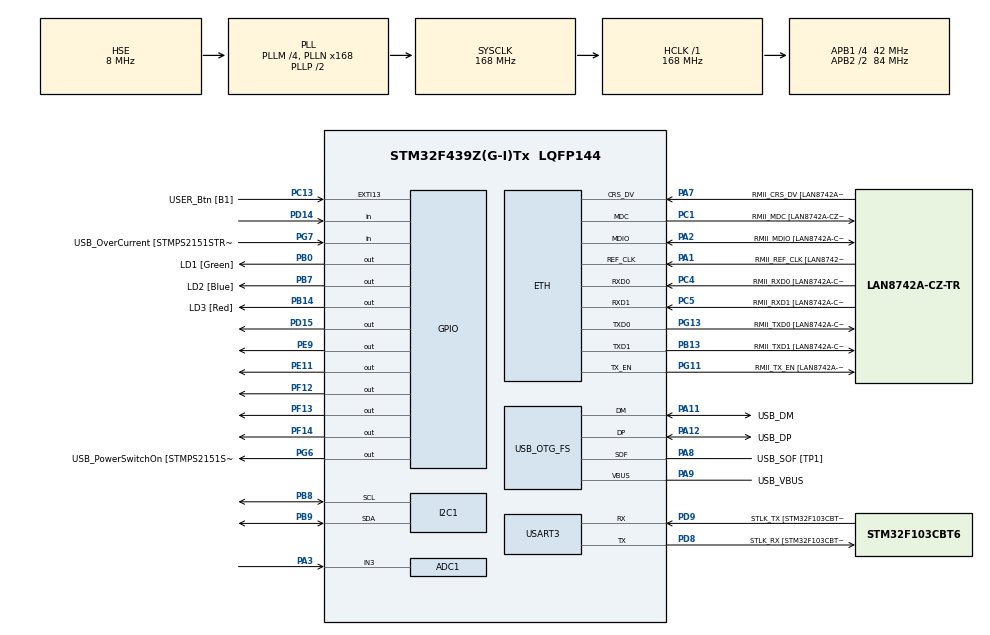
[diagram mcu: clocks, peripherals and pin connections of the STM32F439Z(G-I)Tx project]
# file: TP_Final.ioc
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ADC1.Channel-0\#ChannelRegularConversion=ADC_CHANNEL_3
ADC1.NbrOfConversionFlag=1
ADC1.Rank-0\#ChannelRegularConversion=1
ADC1.Resolution=ADC_RESOLUTION_10B
ADC1.SamplingTime-0\#ChannelRegularConversion=ADC_SAMPLETIME_3CYCLES
ADC1.master=1
ETH.MediaInterface=HAL_ETH_RMII_MODE
ETH.PHY_Name=LAN8742A_PHY_ADDRESS
ETH.PHY_Value=0
ETH.PhyAddress=0
Mcu.Family=STM32F4
Mcu.Name=STM32F439Z(G-I)Tx
Mcu.Package=LQFP144
NVIC.PriorityGroup=NVIC_PRIORITYGROUP_4
PA1.GPIO_Label=RMII_REF_CLK [LAN8742A-CZ-TR_REFCLK0]
PA1.Mode=RMII
PA1.Signal=ETH_REF_CLK
PA10.GPIO_Label=USB_ID
PA10.Signal=USB_OTG_FS_ID
PA11.GPIO_Label=USB_DM
PA11.Mode=Device_Only
PA11.Signal=USB_OTG_FS_DM
PA12.GPIO_Label=USB_DP
PA12.Mode=Device_Only
PA12.Signal=USB_OTG_FS_DP
PA13.GPIO_Label=TMS
PA13.Mode=Serial_Wire
PA13.Signal=SYS_JTMS-SWDIO
PA14.GPIO_Label=TCK
PA14.Mode=Serial_Wire
PA14.Signal=SYS_JTCK-SWCLK
PA2.GPIO_Label=RMII_MDIO [LAN8742A-CZ-TR_MDIO]
PA2.Mode=RMII
PA2.Signal=ETH_MDIO
PA3.Signal=ADCx_IN3
PA7.GPIO_Label=RMII_CRS_DV [LAN8742A-CZ-TR_CRS_DV]
PA7.Mode=RMII
PA7.Signal=ETH_CRS_DV
PA8.GPIO_Label=USB_SOF [TP1]
PA8.Mode=Activate_SOF_FS
PA8.Signal=USB_OTG_FS_SOF
PA9.GPIO_Label=USB_VBUS
PA9.Mode=Activate_VBUS
PA9.Signal=USB_OTG_FS_VBUS
PB0.GPIO_Label=LD1 [Green]
PB0.Signal=GPIO_Output
PB10.Signal=I2C2_SCL
PB11.Signal=I2C2_SDA
PB13.GPIO_Label=RMII_TXD1 [LAN8742A-CZ-TR_TXD1]
PB13.Mode=RMII
PB13.Signal=ETH_TXD1
PB14.GPIO_Label=LD3 [Red]
PB14.Signal=GPIO_Output
PB7.GPIO_Label=LD2 [Blue]
PB7.Signal=GPIO_Output
PB8.Mode=I2C
PB8.Signal=I2C1_SCL
PB9.Mode=I2C
PB9.Signal=I2C1_SDA
PC1.GPIO_Label=RMII_MDC [LAN8742A-CZ-TR_MDC]
PC1.Mode=RMII
PC1.Signal=ETH_MDC
PC13.GPIO_Label=USER_Btn [B1]
PC13.Signal=GPXTI13
PC14/OSC32_IN.Mode=LSE-External-Oscillator
PC14/OSC32_IN.Signal=RCC_OSC32_IN
PC15/OSC32_OUT.Mode=LSE-External-Oscillator
PC15/OSC32_OUT.Signal=RCC_OSC32_OUT
PC4.GPIO_Label=RMII_RXD0 [LAN8742A-CZ-TR_RXD0]
PC4.Mode=RMII
PC4.Signal=ETH_RXD0
PC5.GPIO_Label=RMII_RXD1 [LAN8742A-CZ-TR_RXD1]
PC5.Mode=RMII
PC5.Signal=ETH_RXD1
PD14.Signal=GPIO_Input
PD15.Signal=GPIO_Output
PD8.GPIO_Label=STLK_RX [STM32F103CBT6_PA3]
PD8.Mode=Asynchronous
PD8.Signal=USART3_TX
PD9.GPIO_Label=STLK_TX [STM32F103CBT6_PA2]
PD9.Mode=Asynchronous
PD9.Signal=USART3_RX
PE11.Signal=GPIO_Output
PE9.Signal=GPIO_Output
PF12.Signal=GPIO_Output
PF13.Signal=GPIO_Output
PF14.Signal=GPIO_Output
PG11.GPIO_Label=RMII_TX_EN [LAN8742A-CZ-TR_TXEN]
PG11.Mode=RMII
PG11.Signal=ETH_TX_EN
PG13.GPIO_Label=RMII_TXD0 [LAN8742A-CZ-TR_TXD0]
PG13.Mode=RMII
PG13.Signal=ETH_TXD0
PG6.GPIO_Label=USB_PowerSwitchOn [STMPS2151STR_EN]
PG6.Signal=GPIO_Output
PG7.GPIO_Label=USB_OverCurrent [STMPS2151STR_FAULT]
PG7.Signal=GPIO_Input
PH0/OSC_IN.GPIO_Label=MCO [STM32F103CBT6_PA8]
PH0/OSC_IN.Mode=HSE-External-Clock-Source
PH0/OSC_IN.Signal=RCC_OSC_IN
PH1/OSC_OUT.Mode=HSE-External-Clock-Source
PH1/OSC_OUT.Signal=RCC_OSC_OUT
ProjectManager.HeapSize=0x200
ProjectManager.StackSize=0x400
ProjectManager.TargetToolchain=STM32CubeIDE
RCC.48MHZClocksFreq_Value=48000000
RCC.AHBFreq_Value=168000000
RCC.APB1CLKDivider=RCC_HCLK_DIV4
RCC.APB1Freq_Value=42000000
RCC.APB1TimFreq_Value=84000000
RCC.APB2CLKDivider=RCC_HCLK_DIV2
RCC.APB2Freq_Value=84000000
RCC.APB2TimCLKDivider=2
RCC.APB2TimFreq_Value=168000000
RCC.CortexFreq_Value=168000000
RCC.HCLKFreq_Value=168000000
RCC.HSE_VALUE=8000000
RCC.HSI_VALUE=16000000
RCC.PLLM=4
RCC.PLLMUL=RCC_PLL_MUL9
RCC.PLLN=168
RCC.PLLQ=7
RCC.PRESCALERUSB=RCC_USBCLKSOURCE_PLL_DIV1_5
RCC.SYSCLKFreq_VALUE=168000000
RCC.SYSCLKSource=RCC_SYSCLKSOURCE_PLLCLK
RCC.SYSCLKSourceVirtual=RCC_SYSCLKSOURCE_PLLCLK
RCC.USBFreq_Value=48000000
RCC.VCOOutputFreq_Value=336000000
SH.ADCx_IN3.0=ADC1_IN3,IN3
USART3.VirtualMode=VM_ASYNC
USB_OTG_FS.VirtualMode=Device_Only
board=NUCLEO-F439ZI

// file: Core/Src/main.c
/* USER CODE BEGIN Header */
/**
  ******************************************************************************
  * @file           : main.c
  * @brief          : Main program body
  ******************************************************************************
  * @attention
  *
  * Copyright (c) 2023 STMicroelectronics.
  * All rights reserved.
  *
  * This software is licensed under terms that can be found in the LICENSE file
  * in the root directory of this software component.
  * If no LICENSE file comes with this software, it is provided AS-IS.
  *
  ******************************************************************************
  */
/* USER CODE END Header */
#include "main.h"
#include "string.h"

/* USER CODE BEGIN Includes */
#include <stdio.h>
#include "common.h"
#include "API_uart.h"
#include "API_lcd_keypad.h"
#include "API_adc.h"
#include "API_rtc.h"
//#include "API_lcd_keypad_i2c.h"

/* USER CODE END Includes */

ETH_TxPacketConfig TxConfig;
ETH_DMADescTypeDef  DMARxDscrTab[ETH_RX_DESC_CNT]; /* Ethernet Rx DMA Descriptors */
ETH_DMADescTypeDef  DMATxDscrTab[ETH_TX_DESC_CNT]; /* Ethernet Tx DMA Descriptors */

ADC_HandleTypeDef hadc1;

ETH_HandleTypeDef heth;

I2C_HandleTypeDef hi2c1;

UART_HandleTypeDef huart3;

PCD_HandleTypeDef hpcd_USB_OTG_FS;

void SystemClock_Config(void);
static void MX_GPIO_Init(void);
static void MX_ETH_Init(void);
static void MX_USART3_UART_Init(void);
static void MX_USB_OTG_FS_PCD_Init(void);
static void MX_ADC1_Init(void);
static void MX_I2C1_Init(void);

int main(void)
{
  /* USER CODE BEGIN 1 */
	bool_t uart_initiailzed = false;
	/*
	  uint32_t x = 0;
	  uint8_t result = 0;
	  uint8_t * string = (uint8_t *)"";
	  char msg[10];
	  uint8_t d_port[4] = {PORT_D4, PORT_D5, PORT_D6, PORT_D7};
	  uint8_t d_pins[4] = {PIN_D4, PIN_D5, PIN_D6, PIN_D7};
	  uint8_t dato = ((INIT_CMD>>4)&0x0f);
	  */
	dateTime_t fechaHora = {
			.anio = 0,
			.mes = 0,
			.dia = 0,
			.hora = 0,
			.min = 0,
			.seg = 0,
	};
	temp_t temp=0;
	char msgFh[100];
	char msgTmp[10];

  /* USER CODE END 1 */

  /* MCU Configuration--------------------------------------------------------*/

  /* Reset of all peripherals, Initializes the Flash interface and the Systick. */
  HAL_Init();

  /* Configure the system clock */
  SystemClock_Config();

  /* USER CODE BEGIN SysInit */
  uart_initiailzed = uartInit();
  lcd_init();

  /* USER CODE END SysInit */

  /* Initialize all configured peripherals */
  MX_GPIO_Init();
  MX_ETH_Init();
  MX_USART3_UART_Init();
  MX_USB_OTG_FS_PCD_Init();
  MX_ADC1_Init();
  MX_I2C1_Init();

  /* Infinite loop */
  /* USER CODE BEGIN WHILE */
  //ajustar_fecha_hora(23, 12, 8, 6, 11, 59, 30);
  lcd_send_string("Hola");

//	lcd_put_cur(0, 0);
//	lcd_send_string("aaa");
//	lcd_put_cur(1, 0);
//	lcd_send_string("222");

//	lcd_put_cur_i2c(0, 5);
//	lcd_send_string_i2c("111");
//	lcd_put_cur_i2c(1, 0);
//	lcd_send_string_i2c("222");

  while (1)
  {
    /* USER CODE END WHILE */

    /* USER CODE BEGIN 3 */
	  // x=leer_adc(hadc1);
	  // sprintf(msg, "Valor: %lu\r\n", x);
	  // uartSendString((uint8_t *)msg);

	  // result = boton_presionado(x);
	  // string = str_boton(result);
	  // uartSendString(string);
	//	lcd_enviar_comando(INIT_CMD);

//	  fechaHora = leer_fecha_hora();
//	  temp = leer_temp();
//	  sprintf(msgFh, "%u-%u-%u %u:%u:%u\r\n", fechaHora.anio, fechaHora.mes, fechaHora.dia, fechaHora.hora, fechaHora.min, fechaHora.seg);
//	  sprintf(msgTmp, "%.2f C\r\n", temp);

//	  uartSendString(msgFh);
//
//	  uartSendString(msgTmp);
	  // delay_us(100);

	BSP_LED_Toggle(LED2);

	  //HAL_I2C_Master_Transmit(&hi2c1, LCD_ADDR, (uint8_t*)"5", 1, HAL_MAX_DELAY);

	HAL_Delay(100);

  }
  /* USER CODE END 3 */
}

void SystemClock_Config(void)
{
  RCC_OscInitTypeDef RCC_OscInitStruct = {0};
  RCC_ClkInitTypeDef RCC_ClkInitStruct = {0};

  /** Configure the main internal regulator output voltage
  */
  __HAL_RCC_PWR_CLK_ENABLE();
  __HAL_PWR_VOLTAGESCALING_CONFIG(PWR_REGULATOR_VOLTAGE_SCALE1);

  /** Initializes the RCC Oscillators according to the specified parameters
  * in the RCC_OscInitTypeDef structure.
  */
  RCC_OscInitStruct.OscillatorType = RCC_OSCILLATORTYPE_HSE;
  RCC_OscInitStruct.HSEState = RCC_HSE_BYPASS;
  RCC_OscInitStruct.PLL.PLLState = RCC_PLL_ON;
  RCC_OscInitStruct.PLL.PLLSource = RCC_PLLSOURCE_HSE;
  RCC_OscInitStruct.PLL.PLLM = 4;
  RCC_OscInitStruct.PLL.PLLN = 168;
  RCC_OscInitStruct.PLL.PLLP = RCC_PLLP_DIV2;
  RCC_OscInitStruct.PLL.PLLQ = 7;
  if (HAL_RCC_OscConfig(&RCC_OscInitStruct) != HAL_OK)
  {
    Error_Handler();
  }

  /** Initializes the CPU, AHB and APB buses clocks
  */
  RCC_ClkInitStruct.ClockType = RCC_CLOCKTYPE_HCLK|RCC_CLOCKTYPE_SYSCLK
                              |RCC_CLOCKTYPE_PCLK1|RCC_CLOCKTYPE_PCLK2;
  RCC_ClkInitStruct.SYSCLKSource = RCC_SYSCLKSOURCE_PLLCLK;
  RCC_ClkInitStruct.AHBCLKDivider = RCC_SYSCLK_DIV1;
  RCC_ClkInitStruct.APB1CLKDivider = RCC_HCLK_DIV4;
  RCC_ClkInitStruct.APB2CLKDivider = RCC_HCLK_DIV2;

  if (HAL_RCC_ClockConfig(&RCC_ClkInitStruct, FLASH_LATENCY_5) != HAL_OK)
  {
    Error_Handler();
  }
}

static void MX_ADC1_Init(void)
{

  ADC_ChannelConfTypeDef sConfig = {0};

  /** Configure the global features of the ADC (Clock, Resolution, Data Alignment and number of conversion)
  */
  hadc1.Instance = ADC1;
  hadc1.Init.ClockPrescaler = ADC_CLOCK_SYNC_PCLK_DIV4;
  hadc1.Init.Resolution = ADC_RESOLUTION_10B;
  hadc1.Init.ScanConvMode = DISABLE;
  hadc1.Init.ContinuousConvMode = DISABLE;
  hadc1.Init.DiscontinuousConvMode = DISABLE;
  hadc1.Init.ExternalTrigConvEdge = ADC_EXTERNALTRIGCONVEDGE_NONE;
  hadc1.Init.ExternalTrigConv = ADC_SOFTWARE_START;
  hadc1.Init.DataAlign = ADC_DATAALIGN_RIGHT;
  hadc1.Init.NbrOfConversion = 1;
  hadc1.Init.DMAContinuousRequests = DISABLE;
  hadc1.Init.EOCSelection = ADC_EOC_SINGLE_CONV;
  if (HAL_ADC_Init(&hadc1) != HAL_OK)
  {
    Error_Handler();
  }

  /** Configure for the selected ADC regular channel its corresponding rank in the sequencer and its sample time.
  */
  sConfig.Channel = ADC_CHANNEL_3;
  sConfig.Rank = 1;
  sConfig.SamplingTime = ADC_SAMPLETIME_3CYCLES;
  if (HAL_ADC_ConfigChannel(&hadc1, &sConfig) != HAL_OK)
  {
    Error_Handler();
  }

}

static void MX_ETH_Init(void)
{

   static uint8_t MACAddr[6];

  heth.Instance = ETH;
  MACAddr[0] = 0x00;
  MACAddr[1] = 0x80;
  MACAddr[2] = 0xE1;
  MACAddr[3] = 0x00;
  MACAddr[4] = 0x00;
  MACAddr[5] = 0x00;
  heth.Init.MACAddr = &MACAddr[0];
  heth.Init.MediaInterface = HAL_ETH_RMII_MODE;
  heth.Init.TxDesc = DMATxDscrTab;
  heth.Init.RxDesc = DMARxDscrTab;
  heth.Init.RxBuffLen = 1524;

  if (HAL_ETH_Init(&heth) != HAL_OK)
  {
    Error_Handler();
  }

  memset(&TxConfig, 0 , sizeof(ETH_TxPacketConfig));
  TxConfig.Attributes = ETH_TX_PACKETS_FEATURES_CSUM | ETH_TX_PACKETS_FEATURES_CRCPAD;
  TxConfig.ChecksumCtrl = ETH_CHECKSUM_IPHDR_PAYLOAD_INSERT_PHDR_CALC;
  TxConfig.CRCPadCtrl = ETH_CRC_PAD_INSERT;

}

static void MX_I2C1_Init(void)
{

  hi2c1.Instance = I2C1;
  hi2c1.Init.ClockSpeed = 100000;
  hi2c1.Init.DutyCycle = I2C_DUTYCYCLE_2;
  hi2c1.Init.OwnAddress1 = 0;
  hi2c1.Init.AddressingMode = I2C_ADDRESSINGMODE_7BIT;
  hi2c1.Init.DualAddressMode = I2C_DUALADDRESS_DISABLE;
  hi2c1.Init.OwnAddress2 = 0;
  hi2c1.Init.GeneralCallMode = I2C_GENERALCALL_DISABLE;
  hi2c1.Init.NoStretchMode = I2C_NOSTRETCH_DISABLE;
  if (HAL_I2C_Init(&hi2c1) != HAL_OK)
  {
    Error_Handler();
  }

  /** Configure Analogue filter
  */
  if (HAL_I2CEx_ConfigAnalogFilter(&hi2c1, I2C_ANALOGFILTER_ENABLE) != HAL_OK)
  {
    Error_Handler();
  }

  /** Configure Digital filter
  */
  if (HAL_I2CEx_ConfigDigitalFilter(&hi2c1, 0) != HAL_OK)
  {
    Error_Handler();
  }

}

static void MX_USART3_UART_Init(void)
{

  huart3.Instance = USART3;
  huart3.Init.BaudRate = 115200;
  huart3.Init.WordLength = UART_WORDLENGTH_8B;
  huart3.Init.StopBits = UART_STOPBITS_1;
  huart3.Init.Parity = UART_PARITY_NONE;
  huart3.Init.Mode = UART_MODE_TX_RX;
  huart3.Init.HwFlowCtl = UART_HWCONTROL_NONE;
  huart3.Init.OverSampling = UART_OVERSAMPLING_16;
  if (HAL_UART_Init(&huart3) != HAL_OK)
  {
    Error_Handler();
  }

}

static void MX_USB_OTG_FS_PCD_Init(void)
{

  hpcd_USB_OTG_FS.Instance = USB_OTG_FS;
  hpcd_USB_OTG_FS.Init.dev_endpoints = 4;
  hpcd_USB_OTG_FS.Init.speed = PCD_SPEED_FULL;
  hpcd_USB_OTG_FS.Init.dma_enable = DISABLE;
  hpcd_USB_OTG_FS.Init.phy_itface = PCD_PHY_EMBEDDED;
  hpcd_USB_OTG_FS.Init.Sof_enable = ENABLE;
  hpcd_USB_OTG_FS.Init.low_power_enable = DISABLE;
  hpcd_USB_OTG_FS.Init.lpm_enable = DISABLE;
  hpcd_USB_OTG_FS.Init.vbus_sensing_enable = ENABLE;
  hpcd_USB_OTG_FS.Init.use_dedicated_ep1 = DISABLE;
  if (HAL_PCD_Init(&hpcd_USB_OTG_FS) != HAL_OK)
  {
    Error_Handler();
  }

}

static void MX_GPIO_Init(void)
{
  GPIO_InitTypeDef GPIO_InitStruct = {0};

  /* GPIO Ports Clock Enable */
  __HAL_RCC_GPIOC_CLK_ENABLE();
  __HAL_RCC_GPIOH_CLK_ENABLE();
  __HAL_RCC_GPIOA_CLK_ENABLE();
  __HAL_RCC_GPIOB_CLK_ENABLE();
  __HAL_RCC_GPIOF_CLK_ENABLE();
  __HAL_RCC_GPIOE_CLK_ENABLE();
  __HAL_RCC_GPIOD_CLK_ENABLE();
  __HAL_RCC_GPIOG_CLK_ENABLE();

  /*Configure GPIO pin Output Level */
  HAL_GPIO_WritePin(GPIOB, LD1_Pin|LD3_Pin|LD2_Pin, GPIO_PIN_RESET);

  /*Configure GPIO pin Output Level */
  HAL_GPIO_WritePin(GPIOF, GPIO_PIN_12|GPIO_PIN_13|GPIO_PIN_14, GPIO_PIN_RESET);

  /*Configure GPIO pin Output Level */
  HAL_GPIO_WritePin(GPIOE, GPIO_PIN_9|GPIO_PIN_11, GPIO_PIN_RESET);

  /*Configure GPIO pin Output Level */
  HAL_GPIO_WritePin(GPIOD, GPIO_PIN_15, GPIO_PIN_RESET);

  /*Configure GPIO pin Output Level */
  HAL_GPIO_WritePin(USB_PowerSwitchOn_GPIO_Port, USB_PowerSwitchOn_Pin, GPIO_PIN_RESET);

  /*Configure GPIO pin : USER_Btn_Pin */
  GPIO_InitStruct.Pin = USER_Btn_Pin;
  GPIO_InitStruct.Mode = GPIO_MODE_IT_RISING;
  GPIO_InitStruct.Pull = GPIO_NOPULL;
  HAL_GPIO_Init(USER_Btn_GPIO_Port, &GPIO_InitStruct);

  /*Configure GPIO pins : LD1_Pin LD3_Pin LD2_Pin */
  GPIO_InitStruct.Pin = LD1_Pin|LD3_Pin|LD2_Pin;
  GPIO_InitStruct.Mode = GPIO_MODE_OUTPUT_PP;
  GPIO_InitStruct.Pull = GPIO_NOPULL;
  GPIO_InitStruct.Speed = GPIO_SPEED_FREQ_LOW;
  HAL_GPIO_Init(GPIOB, &GPIO_InitStruct);

  /*Configure GPIO pins : PF12 PF13 PF14 */
  GPIO_InitStruct.Pin = GPIO_PIN_12|GPIO_PIN_13|GPIO_PIN_14;
  GPIO_InitStruct.Mode = GPIO_MODE_OUTPUT_PP;
  GPIO_InitStruct.Pull = GPIO_NOPULL;
  GPIO_InitStruct.Speed = GPIO_SPEED_FREQ_LOW;
  HAL_GPIO_Init(GPIOF, &GPIO_InitStruct);

  /*Configure GPIO pins : PE9 PE11 */
  GPIO_InitStruct.Pin = GPIO_PIN_9|GPIO_PIN_11;
  GPIO_InitStruct.Mode = GPIO_MODE_OUTPUT_PP;
  GPIO_InitStruct.Pull = GPIO_NOPULL;
  GPIO_InitStruct.Speed = GPIO_SPEED_FREQ_LOW;
  HAL_GPIO_Init(GPIOE, &GPIO_InitStruct);

  /*Configure GPIO pins : PB10 PB11 */
  GPIO_InitStruct.Pin = GPIO_PIN_10|GPIO_PIN_11;
  GPIO_InitStruct.Mode = GPIO_MODE_AF_OD;
  GPIO_InitStruct.Pull = GPIO_NOPULL;
  GPIO_InitStruct.Speed = GPIO_SPEED_FREQ_VERY_HIGH;
  GPIO_InitStruct.Alternate = GPIO_AF4_I2C2;
  HAL_GPIO_Init(GPIOB, &GPIO_InitStruct);

  /*Configure GPIO pin : PD14 */
  GPIO_InitStruct.Pin = GPIO_PIN_14;
  GPIO_InitStruct.Mode = GPIO_MODE_INPUT;
  GPIO_InitStruct.Pull = GPIO_NOPULL;
  HAL_GPIO_Init(GPIOD, &GPIO_InitStruct);

  /*Configure GPIO pin : PD15 */
  GPIO_InitStruct.Pin = GPIO_PIN_15;
  GPIO_InitStruct.Mode = GPIO_MODE_OUTPUT_PP;
  GPIO_InitStruct.Pull = GPIO_NOPULL;
  GPIO_InitStruct.Speed = GPIO_SPEED_FREQ_LOW;
  HAL_GPIO_Init(GPIOD, &GPIO_InitStruct);

  /*Configure GPIO pin : USB_PowerSwitchOn_Pin */
  GPIO_InitStruct.Pin = USB_PowerSwitchOn_Pin;
  GPIO_InitStruct.Mode = GPIO_MODE_OUTPUT_PP;
  GPIO_InitStruct.Pull = GPIO_NOPULL;
  GPIO_InitStruct.Speed = GPIO_SPEED_FREQ_LOW;
  HAL_GPIO_Init(USB_PowerSwitchOn_GPIO_Port, &GPIO_InitStruct);

  /*Configure GPIO pin : USB_OverCurrent_Pin */
  GPIO_InitStruct.Pin = USB_OverCurrent_Pin;
  GPIO_InitStruct.Mode = GPIO_MODE_INPUT;
  GPIO_InitStruct.Pull = GPIO_NOPULL;
  HAL_GPIO_Init(USB_OverCurrent_GPIO_Port, &GPIO_InitStruct);

}

void Error_Handler(void)
{
  __disable_irq();
  while (1)
  {
  }
}
